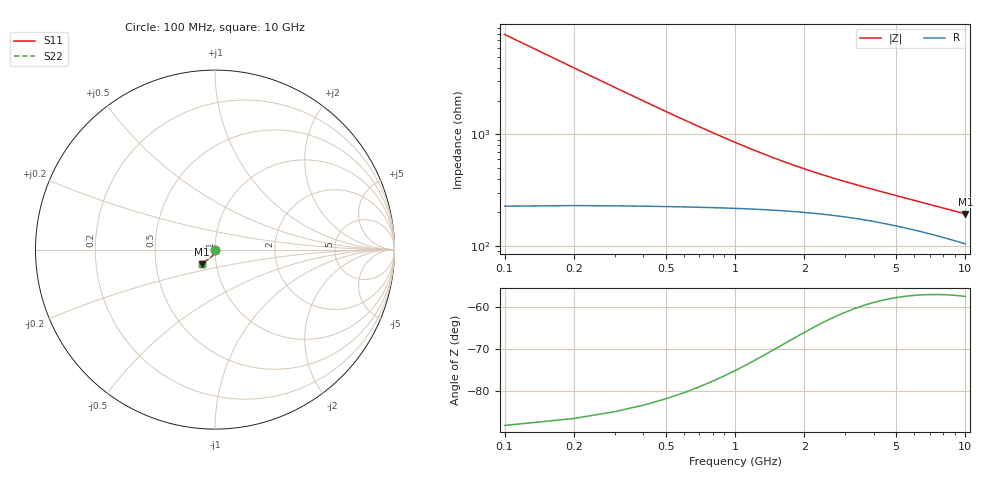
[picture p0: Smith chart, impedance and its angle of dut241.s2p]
! Touchstone file exported from HFSS 2024.1.0
!  File:  C:/UserFiles/LocalFiles/RDL_TSV_Batchsim/temp_TSV1_241_1778768307.aedt
!  Generated:  10:22:13 PM May 14, 2026
!  Design:  TSV1
!  Project:  temp_TSV1_241_1778768307
!  Setup:  Setup1
!  Solution:  Sweep
! Variables:
!  dtsv = 22.45um
!  hbump = 3um
!  htsv = 73.79um
!  lrdl = 252.1521522um
!  p = 40
!  p1 = 47.99um
!  t = 500um
!  trdl = 3um
!  wrdl = 24.89489489um
# GHz S MA R 50.000000
! Terminal data exported
! Port[1] = TSV22_T1
! Port[2] = TSV22_T2
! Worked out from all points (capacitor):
!   100 points, 100 MHz to 10 GHz, reference 50 ohm
!   read as one part in shunt: C = 201 fF near 100 MHz
!   lowest |Z| = 193 ohm at 10 GHz (marker M1)
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0.1  0.002938 -90.3  0.9998 -0.2  0.9998 -0.2  0.002938 -90.3
! Gamma 0 0 0 0
! Port Impedance 50 0 50 0
0.2  0.005867 -93.0  0.9995 -0.4  0.9995 -0.4  0.005867 -93.0
0.3  0.008775 -95.0  0.999 -0.6  0.999 -0.6  0.008775 -95.0
0.4  0.01165 -96.9  0.9984 -0.8  0.9984 -0.8  0.01165 -96.9
0.5  0.01447 -98.7  0.9975 -0.9  0.9975 -0.9  0.01447 -98.7
0.6  0.01723 -100.4  0.9966 -1.1  0.9966 -1.1  0.01723 -100.4
0.7  0.01991 -102.0  0.9955 -1.3  0.9955 -1.3  0.01991 -102.0
0.8  0.02252 -103.6  0.9944 -1.4  0.9944 -1.4  0.02252 -103.6
0.9  0.02503 -105.1  0.9931 -1.6  0.9931 -1.6  0.02503 -105.1
1.1  0.0298 -107.9  0.9905 -1.8  0.9905 -1.8  0.0298 -107.9
1.4  0.03626 -111.7  0.9864 -2.2  0.9864 -2.2  0.03626 -111.7
1.6  0.04013 -113.9  0.9836 -2.4  0.9836 -2.4  0.04013 -113.9
1.8  0.04369 -115.8  0.981 -2.6  0.981 -2.6  0.04369 -115.8
2.1  0.04849 -118.3  0.9771 -2.9  0.9771 -2.9  0.04849 -118.3
2.5  0.05409 -121.0  0.9725 -3.2  0.9725 -3.2  0.05409 -121.0
2.9  0.05897 -123.1  0.9683 -3.4  0.9683 -3.4  0.05897 -123.1
3.4  0.06436 -125.1  0.9636 -3.7  0.9636 -3.7  0.06436 -125.1
4.2  0.07184 -127.3  0.9574 -4.1  0.9574 -4.1  0.07184 -127.3
5.1  0.07917 -129.0  0.9515 -4.6  0.9515 -4.6  0.07917 -129.0
6.7  0.09045 -130.7  0.943 -5.3  0.943 -5.3  0.09045 -130.7
8.4  0.1008 -131.7  0.9357 -6.0  0.9357 -6.0  0.1008 -131.7
10  0.1096 -132.2  0.93 -6.7  0.93 -6.7  0.1096 -132.2
